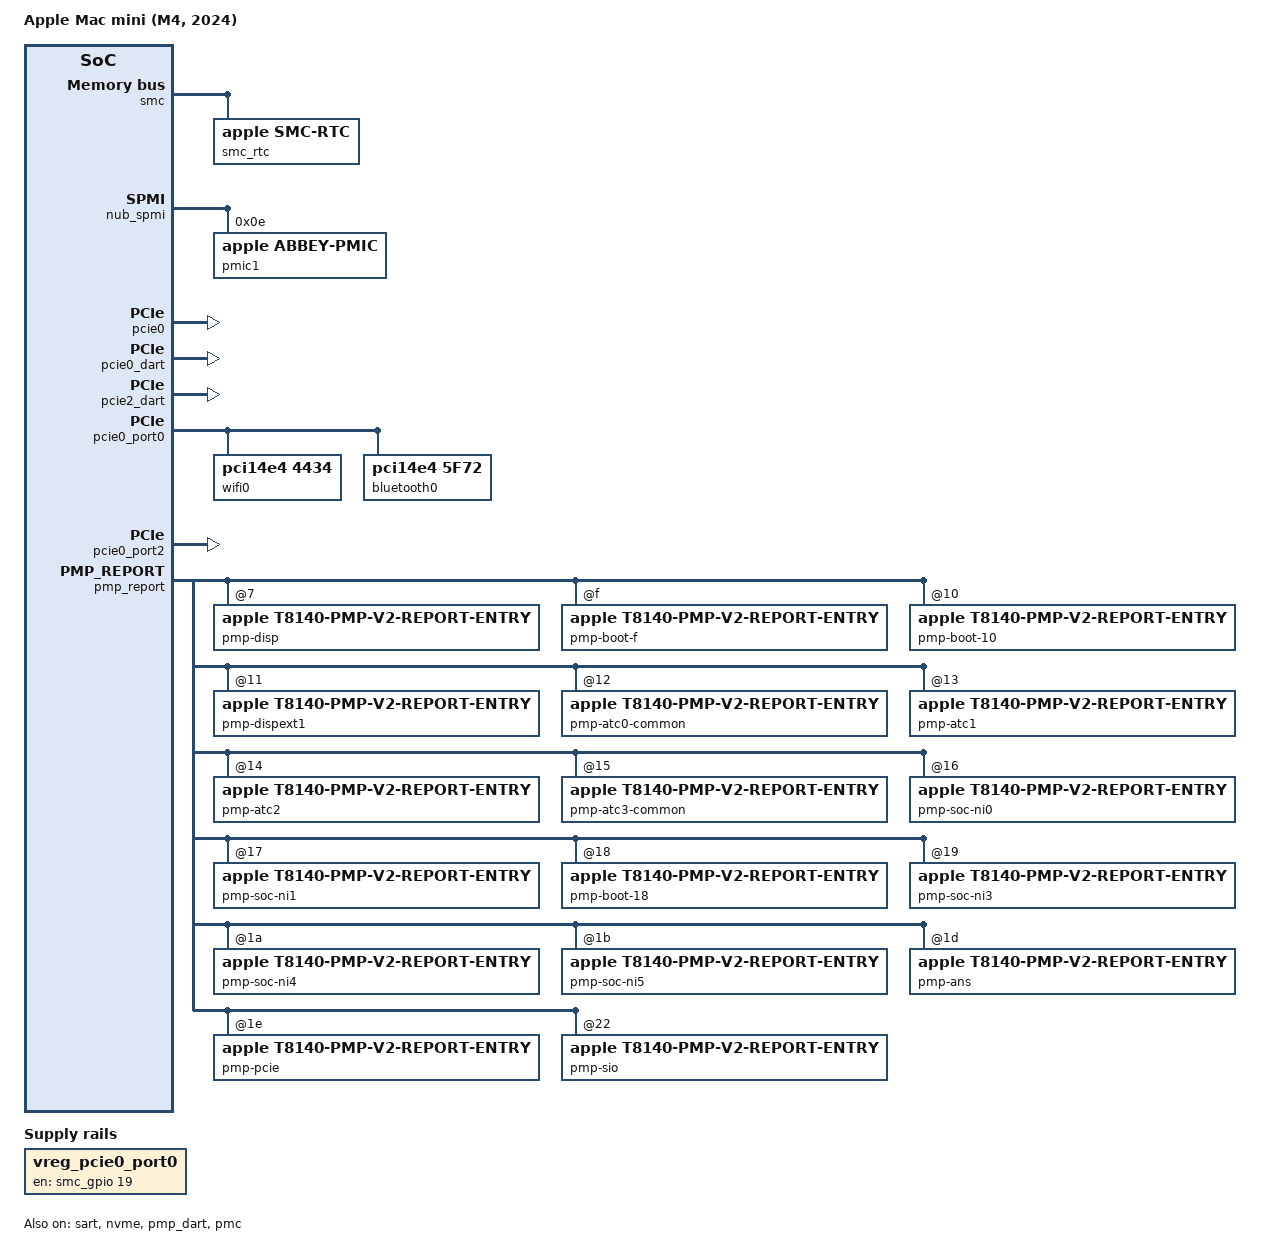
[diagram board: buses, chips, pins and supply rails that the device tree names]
// SPDX-License-Identifier: GPL-2.0+ OR MIT
/*
 * Apple Mac mini (M4, 2024)
 *
 * target-type: J773g
 *
 * Copyright The Asahi Linux Contributors
 */

/dts-v1/;

#include "t8132.dtsi"
#include "t8132-jxxx.dtsi"

/ {
	compatible = "apple,j773g", "apple,t8132", "apple,arm-platform";
	model = "Apple Mac mini (M4, 2024)";

	aliases {
		bluetooth0 = &bluetooth0;
		ethernet0 = &ethernet0;
		pmp = &pmp;
		wifi0 = &wifi0;
	};

	vreg_pcie0_port0: regulator-pcie0-port0 {
		compatible = "regulator-fixed";
		regulator-name = "pwren-pcie0-port0";
		gpio = <&smc_gpio 19 GPIO_ACTIVE_HIGH>;
		enable-active-high;
	};
};

/*
 * Keep the power-domains used for the HDMI port on.
 */
&framebuffer0 {
	power-domains = <&ps_dispext0_fe>, <&ps_dptx_phy>;
};

&smc_mbox {
	status = "okay";
};

&smc {
	status = "okay";

	smc_reboot: reboot {
		compatible = "apple,smc-reboot";
		nvmem-cells = <&shutdown_flag>, <&boot_stage>,
			      <&boot_error_count>, <&panic_count>;
		nvmem-cell-names = "shutdown_flag", "boot_stage",
				   "boot_error_count", "panic_count";
	};

	smc_rtc: rtc {
		compatible = "apple,smc-rtc";
		nvmem-cells = <&rtc_offset>;
		nvmem-cell-names = "rtc_offset";
	};
};

&nub_spmi {
	status = "okay";

	pmic1: pmic@e {
		compatible = "apple,abbey-pmic", "apple,spmi-nvmem";
		reg = <0xe SPMI_USID>;

		nvmem-layout {
			compatible = "fixed-layout";
			#address-cells = <1>;
			#size-cells = <1>;

			pm_setting: pm-setting@2001 {
				reg = <0x2001 0x1>;
			};

			rtc_offset: rtc-offset@2100 {
				reg = <0x2100 0x6>;
			};

			fault_shadow: fault-shadow@867b {
				reg = <0x867b 0x10>;
			};

			socd: socd@8b00 {
				reg = <0x8b00 0x1800>;
			};

			boot_stage: boot-stage@f801 {
				reg = <0xf801 0x1>;
			};

			boot_error_count: boot-error-count@f802,0 {
				reg = <0xf802 0x1>;
				bits = <0 4>;
			};

			panic_count: panic-count@f802,4 {
				reg = <0xf802 0x1>;
				bits = <4 4>;
			};

			shutdown_flag: shutdown-flag@f80f,3 {
				reg = <0xf80f 0x1>;
				bits = <3 1>;
			};
		};
	};
};

/* Internal SSD */

&ans_mbox {
	status = "okay";
};

&sart {
	status = "okay";
};

&nvme {
	status = "okay";
};

/*
 * Internal PCIe: Wi-Fi and Bluetooth (BCM4388) on port 0 and Ethernet on
 * port 2 (an AQC113 on the 10 Gb Ethernet model). Port 1 is not wired.
 * Fixed bus numbers let the device nodes below carry the MAC and
 * Bluetooth addresses and the calibration the loader fills in.
 */

&pcie0 {
	iommu-map = <0x100 &pcie0_dart 1 1>,
		    <0x200 &pcie2_dart 1 1>;
	status = "okay";
};

&pcie0_dart {
	status = "okay";
};

&pcie2_dart {
	status = "okay";
};

&pcie0_port0 {
	power-supply = <&vreg_pcie0_port0>;
	bus-range = <1 1>;
	status = "okay";

	wifi0: wifi@0,0 {
		compatible = "pci14e4,4434";
		reg = <0x10000 0x0 0x0 0x0 0x0>;
		/* To be filled by the loader */
		local-mac-address = [00 00 00 00 00 00];
		apple,antenna-sku = "XX";
		brcm,board-type = "apple,sakhalin";
	};

	bluetooth0: bluetooth@0,1 {
		compatible = "pci14e4,5f72";
		reg = <0x10100 0x0 0x0 0x0 0x0>;
		/* To be filled by the loader */
		local-bd-address = [00 00 00 00 00 00];
		brcm,board-type = "apple,sakhalin";
	};
};

&pcie0_port2 {
	bus-range = <2 2>;
	status = "okay";

	ethernet0: ethernet@0,0 {
		reg = <0x20000 0x0 0x0 0x0 0x0>;
		/* To be filled by the loader */
		local-mac-address = [00 10 18 00 00 00];
	};
};

/* CPU frequency scaling */

&cpufreq_e {
	status = "okay";
};

&cpufreq_p {
	status = "okay";
};

&cpu_e0 {
	operating-points-v2 = <&donan_e_opp>;
	performance-domains = <&cpufreq_e>;
};

&cpu_e1 {
	operating-points-v2 = <&donan_e_opp>;
	performance-domains = <&cpufreq_e>;
};

&cpu_e2 {
	operating-points-v2 = <&donan_e_opp>;
	performance-domains = <&cpufreq_e>;
};

&cpu_e3 {
	operating-points-v2 = <&donan_e_opp>;
	performance-domains = <&cpufreq_e>;
};

&cpu_e4 {
	operating-points-v2 = <&donan_e_opp>;
	performance-domains = <&cpufreq_e>;
};

&cpu_e5 {
	operating-points-v2 = <&donan_e_opp>;
	performance-domains = <&cpufreq_e>;
};

&cpu_p0 {
	operating-points-v2 = <&donan_p_opp>;
	performance-domains = <&cpufreq_p>;
};

&cpu_p1 {
	operating-points-v2 = <&donan_p_opp>;
	performance-domains = <&cpufreq_p>;
};

&cpu_p2 {
	operating-points-v2 = <&donan_p_opp>;
	performance-domains = <&cpufreq_p>;
};

&cpu_p3 {
	operating-points-v2 = <&donan_p_opp>;
	performance-domains = <&cpufreq_p>;
};

/* SMC sensors and the fan */

#include "hwmon-common.dtsi"
#include "hwmon-mini.dtsi"

&pmp_dart {
	status = "okay";
};

&pmp_mbox {
	status = "okay";
};

/*
 * The requests GravityLinux's J773g tree holds while the PMP runs;
 * pmp-boot-f and pmp-boot-10 are the start-up requests macOS asserts
 * before it starts the PMP. The PMP node itself stays disabled here: the
 * bootloader copies the board and DRAM identifiers and the PMP tunables
 * from the Apple device tree, then enables it.
 */
&pmp_report {
	status = "okay";

	report@7 {
		compatible = "apple,t8140-pmp-v2-report-entry";
		reg = <0x7>;
		label = "pmp-disp";
		#power-domain-cells = <0>;
		apple,always-on;
	};

	report@f {
		compatible = "apple,t8140-pmp-v2-report-entry";
		reg = <0xf>;
		label = "pmp-boot-f";
		#power-domain-cells = <0>;
		apple,always-on;
	};

	report@10 {
		compatible = "apple,t8140-pmp-v2-report-entry";
		reg = <0x10>;
		label = "pmp-boot-10";
		#power-domain-cells = <0>;
		apple,always-on;
	};

	report@11 {
		compatible = "apple,t8140-pmp-v2-report-entry";
		reg = <0x11>;
		label = "pmp-dispext1";
		#power-domain-cells = <0>;
		power-domains = <&ps_dispext1_sys>;
		apple,always-on;
	};

	report@12 {
		compatible = "apple,t8140-pmp-v2-report-entry";
		reg = <0x12>;
		label = "pmp-atc0-common";
		#power-domain-cells = <0>;
		apple,always-on;
	};

	report@13 {
		compatible = "apple,t8140-pmp-v2-report-entry";
		reg = <0x13>;
		label = "pmp-atc1";
		#power-domain-cells = <0>;
		apple,always-on;
	};

	report@14 {
		compatible = "apple,t8140-pmp-v2-report-entry";
		reg = <0x14>;
		label = "pmp-atc2";
		#power-domain-cells = <0>;
		apple,always-on;
	};

	report@15 {
		compatible = "apple,t8140-pmp-v2-report-entry";
		reg = <0x15>;
		label = "pmp-atc3-common";
		#power-domain-cells = <0>;
		apple,always-on;
	};

	report@16 {
		compatible = "apple,t8140-pmp-v2-report-entry";
		reg = <0x16>;
		label = "pmp-soc-ni0";
		#power-domain-cells = <0>;
		apple,always-on;
	};

	report@17 {
		compatible = "apple,t8140-pmp-v2-report-entry";
		reg = <0x17>;
		label = "pmp-soc-ni1";
		#power-domain-cells = <0>;
		apple,always-on;
	};

	report@18 {
		compatible = "apple,t8140-pmp-v2-report-entry";
		reg = <0x18>;
		label = "pmp-boot-18";
		#power-domain-cells = <0>;
		apple,always-on;
	};

	report@19 {
		compatible = "apple,t8140-pmp-v2-report-entry";
		reg = <0x19>;
		label = "pmp-soc-ni3";
		#power-domain-cells = <0>;
		apple,always-on;
	};

	report@1a {
		compatible = "apple,t8140-pmp-v2-report-entry";
		reg = <0x1a>;
		label = "pmp-soc-ni4";
		#power-domain-cells = <0>;
		apple,always-on;
	};

	report@1b {
		compatible = "apple,t8140-pmp-v2-report-entry";
		reg = <0x1b>;
		label = "pmp-soc-ni5";
		#power-domain-cells = <0>;
		apple,always-on;
	};

	report@1d {
		compatible = "apple,t8140-pmp-v2-report-entry";
		reg = <0x1d>;
		label = "pmp-ans";
		#power-domain-cells = <0>;
		apple,always-on;
	};

	report@1e {
		compatible = "apple,t8140-pmp-v2-report-entry";
		reg = <0x1e>;
		label = "pmp-pcie";
		#power-domain-cells = <0>;
		apple,always-on;
	};

	report@22 {
		compatible = "apple,t8140-pmp-v2-report-entry";
		reg = <0x22>;
		label = "pmp-sio";
		#power-domain-cells = <0>;
	};
};

/*
 * Without votes the PMP parks DRAM low. CLPC votes DCS 5 / fabric 3
 * through the AP's agent while a CPU cluster is busy or the GPU is
 * powered.
 */
&pmc {
	status = "okay";
};
